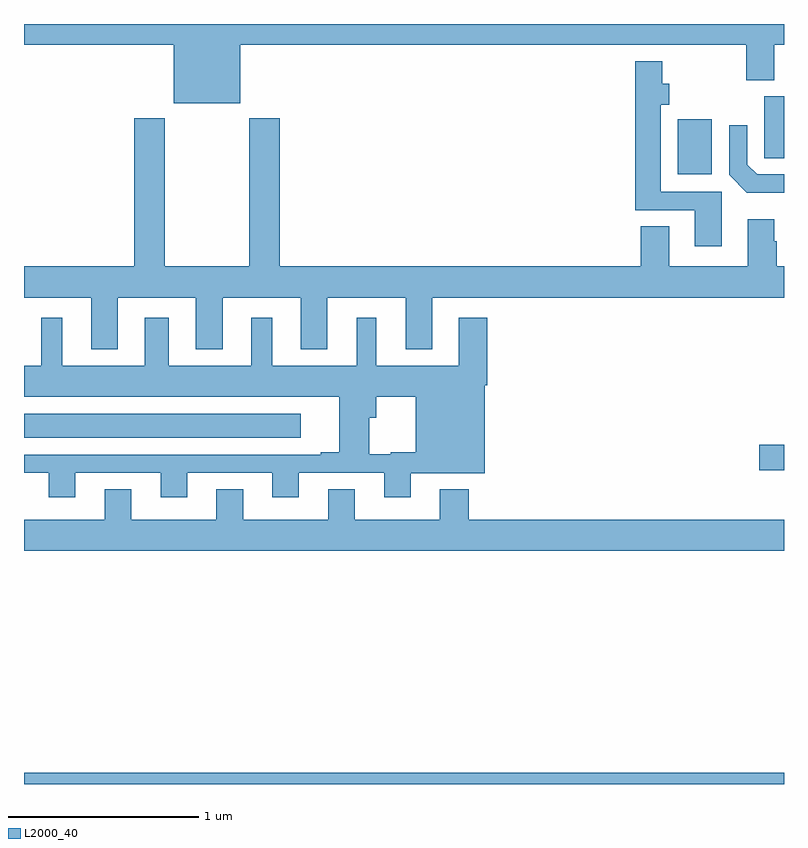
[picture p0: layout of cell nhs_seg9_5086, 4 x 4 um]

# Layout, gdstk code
import gdstk
lib = gdstk.Library(unit=1e-6, precision=1e-09)
def R(c, l, rs):  # rectangles x0, y0, x1, y1
    for r in rs: c.add(gdstk.rectangle(r[:2], r[2:], *l))
def P(c, l, *ps):  # polygons
    for p in ps: c.add(gdstk.Polygon(p, *l))
L2000_40 = (2000, 40)

nhs_seg9_5086 = lib.new_cell('nhs_seg9_5086')
R(nhs_seg9_5086, L2000_40, [(405,1220.5,409,1220.56), (408.87,1222.151,409,1222.286), (405,1222.322,406.456,1222.45), (408.44,1223.708,408.619,1223.998)])
P(nhs_seg9_5086, L2000_40, [(406.138,1224.392),(408.802,1224.392),(408.802,1224.205),(408.949,1224.205),(408.949,1224.392),(409,1224.392),(409,1224.5),(405,1224.5),(405,1224.392),(405.788,1224.392),(405.788,1224.083),(406.138,1224.083)],
  [(408.673,1223.616),(408.352,1223.616),(408.352,1224.075),(408.397,1224.075),(408.397,1224.185),(408.36,1224.185),(408.36,1224.304),(408.218,1224.304),(408.218,1223.52),(408.53,1223.52),(408.53,1223.331),(408.673,1223.331)],
  [(409,1224.12),(408.896,1224.12),(408.896,1223.905),(408.897,1223.905),(408.897,1223.794),(409,1223.794)],
  [(405.493,1223.06),(405.905,1223.06),(405.905,1222.787),(406.045,1222.787),(406.045,1223.06),(406.457,1223.06),(406.457,1222.787),(406.597,1222.787),(406.597,1223.06),(407.009,1223.06),(407.009,1222.787),(407.149,1222.787),(407.149,1223.06),(409,1223.06),(409,1223.224),(408.962,1223.224),(408.962,1223.357),(408.949,1223.357),(408.949,1223.473),(408.809,1223.473),(408.809,1223.224),(408.397,1223.224),(408.397,1223.435),(408.245,1223.435),(408.245,1223.224),(406.346,1223.224),(406.346,1224.004),(406.186,1224.004),(406.186,1223.224),(405.741,1223.224),(405.741,1224.004),(405.581,1224.004),(405.581,1223.224),(405,1223.224),(405,1223.06),(405.353,1223.06),(405.353,1222.787),(405.493,1222.787)],
  [(409,1223.709),(408.858,1223.709),(408.807,1223.76),(408.807,1223.968),(408.711,1223.968),(408.711,1223.706),(408.805,1223.612),(409,1223.612)],
  [(405,1222.233),(405,1222.137),(405.131,1222.137),(405.131,1222.008),(405.271,1222.008),(405.271,1222.137),(405.719,1222.137),(405.719,1222.008),(405.859,1222.008),(405.859,1222.137),(406.307,1222.137),(406.307,1222.008),(406.447,1222.008),(406.447,1222.137),(406.895,1222.137),(406.895,1222.008),(407.035,1222.008),(407.035,1222.136),(407.425,1222.136),(407.425,1222.598),(407.438,1222.598),(407.438,1222.954),(407.288,1222.954),(407.288,1222.702),(406.855,1222.702),(406.855,1222.954),(406.751,1222.954),(406.751,1222.702),(406.306,1222.702),(406.306,1222.954),(406.196,1222.954),(406.196,1222.702),(405.763,1222.702),(405.763,1222.954),(405.635,1222.954),(405.635,1222.702),(405.202,1222.702),(405.202,1222.954),(405.092,1222.954),(405.092,1222.702),(405,1222.702),(405,1222.538),(406.658,1222.538),(406.658,1222.246),(406.562,1222.246),(406.562,1222.235),(406.816,1222.235),(406.816,1222.427),(406.855,1222.427),(406.855,1222.538),(407.063,1222.538),(407.063,1222.246),(406.931,1222.246),(406.931,1222.235),(406.816,1222.235),(406.562,1222.235),(406.562,1222.233)],
  [(409,1221.892),(407.342,1221.892),(407.342,1222.051),(407.189,1222.051),(407.189,1221.892),(406.741,1221.892),(406.741,1222.052),(406.601,1222.052),(406.601,1221.892),(406.153,1221.892),(406.153,1222.052),(406.013,1222.052),(406.013,1221.892),(405.565,1221.892),(405.565,1222.052),(405.425,1222.052),(405.425,1221.892),(405,1221.892),(405,1221.728),(409,1221.728)])

lib.write_gds('nhs_seg9_5086.gds')
